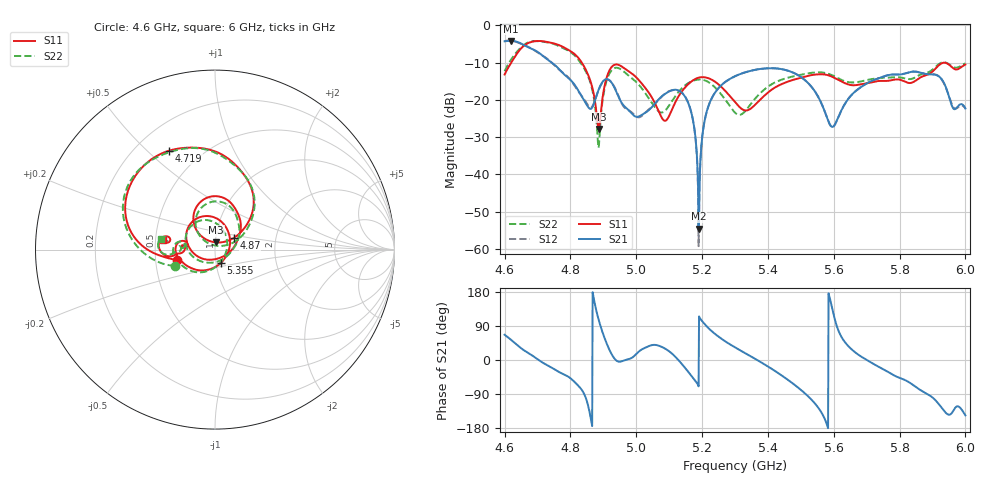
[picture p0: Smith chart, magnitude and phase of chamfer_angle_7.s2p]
! TOUCHSTONE file generated by CST MICROWAVE STUDIO
! Date and time: Sat Nov 30 03:29:16 2024
! Project name: test_tuning.cst
! Parameters = {airCoaxOuterDiameter=3; chamferAngle=47; chamferWidth=24; connectorLength=10; drillingHoleDiameter=4.1; feedLength=60; flareDiameter=130; flareLength=70; gratingDistance=0; gratingGap=1.90274; outletLength=30; polarizerLength=134; probe1Diameter=1.3; probe1Distance=14; probe1Length=1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
! Header version: 2024
! Port assignment regex: !\s*Touchstone port\s*([0-9]+)\s*=\s*(CST MWS port|CST DES external port|CST DES block port)\s*(.+)\s* \(\"(.*)\"\)(\s*mode\s*([0-9]+))?.*
! Touchstone port assignment:
! Touchstone port 1 = CST MWS port 1 ("Input1")
! Touchstone port 2 = CST MWS port 2 ("Input2")
# GHz S MA R 50
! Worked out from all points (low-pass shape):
!   1001 points, 4.6 GHz to 6 GHz, reference 50 ohm
!   highest |S21| = -4.19 dB at 4.618 GHz (marker M1); lowest = -54.6 dB at 5.189 GHz (marker M2)
!   |S21| within 3 dB of the highest: start of sweep to 4.701 GHz
!   lowest |S11| = -27.8 dB at 4.886 GHz (marker M3), VSWR 1.08, Z = 50.4 + j4.05 ohm
!   |S11| at or under -10 dB: start of sweep to 4.620297 GHz; 4.834 GHz to end of sweep
!   |S22| runs from -32.9 to -4.2 dB; largest |S21 - S12| = 0.0086
!   S11 on the Smith chart (normalised r, x): 4.6 GHz: 0.65, -0.08; 4.719 GHz: 0.33, +0.58; 4.87 GHz: 1.22, +0.16; 5.355 GHz: 1.06, -0.16; 6 GHz: 0.55, +0.07
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4.6  0.2184 -164.6  0.6087 66.6  0.6113 67.4  0.242 -158.0
4.6182  0.3054 -173.5  0.6173 54.3  0.6239 53.8  0.3387 -169.6
4.6658  0.559 153.4  0.5219 21.7  0.5282 22.1  0.5712 153.8
4.719  0.6077 115.1  0.3795 -8.7  0.3826 -7.8  0.5984 114.3
4.8338  0.3185 47.8  0.1118 -78.1  0.1135 -75.9  0.3 44.1
4.8702  0.1233 31.9  0.08588 165.5  0.08787 163.2  0.1124 21.2
4.8856  0.04056 81.5  0.1367 106.6  0.1355 105.1  0.02269 84.3
4.908  0.1844 129.3  0.1889 48.2  0.1857 48.6  0.1687 129.3
4.9346  0.2954 95.7  0.1431 2.9  0.1459 3.4  0.2667 93.7
5.0046  0.1906 40.9  0.05918 19.8  0.05838 17.6  0.1649 34.5
5.0676  0.07079 -21.6  0.1009 38.0  0.09932 38.3  0.07022 -44.1
5.153  0.154 169.4  0.101 -25.8  0.102 -25.7  0.1619 172.5
5.174  0.1844 149.6  0.04857 -49.0  0.04821 -50.0  0.181 152.0
5.1894  0.198 134.7  0.001858 -69.5  0.001087 -56.7  0.187 137.1
5.2202  0.1939 105.3  0.08475 83.4  0.08412 83.5  0.1718 106.4
5.3  0.09319 25.4  0.2069 33.4  0.2071 33.5  0.06729 7.5
5.3546  0.08059 -65.2  0.2487 6.3  0.2487 6.4  0.0957 -86.5
5.5338  0.2148 -171.1  0.1469 -105.9  0.1465 -105.8  0.2306 -172.0
5.5968  0.2021 167.3  0.04335 130.7  0.04292 130.4  0.2122 168.8
5.7676  0.1803 175.4  0.2153 -32.7  0.2151 -32.7  0.1988 175.5
5.9118  0.2695 -172.4  0.2149 -108.8  0.2158 -109.3  0.283 -174.9
6  0.2971 169.3  0.07637 -146.1  0.07667 -142.6  0.3076 169.0
